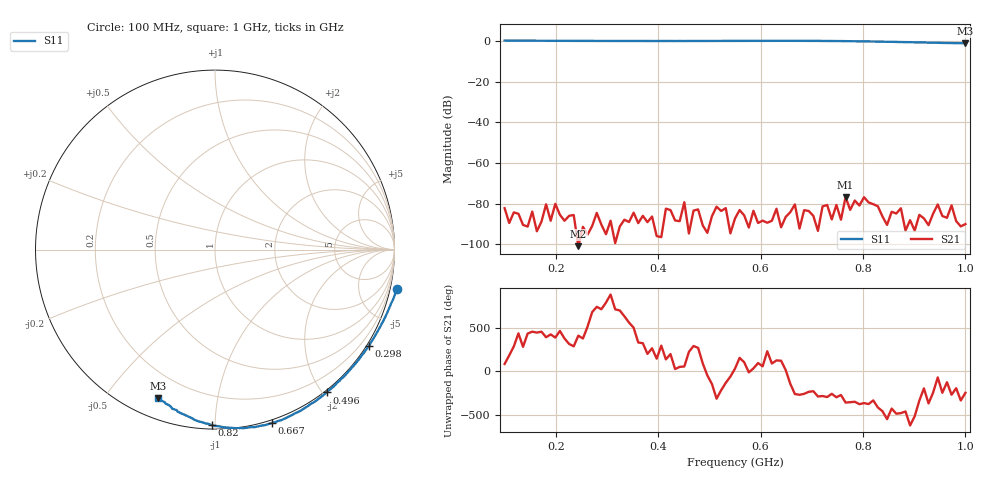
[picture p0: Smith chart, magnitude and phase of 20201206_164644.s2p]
# HZ S RI R 50
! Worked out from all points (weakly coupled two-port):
!   101 points, 100 MHz to 1 GHz, reference 50 ohm
!   highest |S21| = -76.76 dB at 766 MHz (marker M1); lowest = -100.9 dB at 244 MHz (marker M2)
!   lowest |S11| = -1.1 dB at 1 GHz (marker M3), VSWR 16.55, Z = 4.44 - j34.2 ohm
!   |S11| at or under -10 dB: nowhere
!   S12 and S22 are empty: the file has one direction only
!   S11 on the Smith chart (normalised r, x): 100 MHz: -1.63, -9.06; 298 MHz: -0.07, -3.48; 496 MHz: -0.03, -2.05; 667 MHz: -0.02, -1.38; 820 MHz: 0.02, -0.98; 1 GHz: 0.09, -0.68
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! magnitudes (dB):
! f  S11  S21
! 100 MHz  0.3  -82.2
! 244 MHz  0.1  -100.9
! 253 MHz  0.1  -91.4
! 298 MHz  0.1  -95.0
! 406 MHz  0.1  -96.5
! 442 MHz  0.1  -88.6
! 451 MHz  0.1  -79.3
! 460 MHz  0.1  -94.7
! 496 MHz  0.1  -94.3
! 550 MHz  0.1  -87.3
! 667 MHz  0.1  -80.4
! 703 MHz  0.1  -86.0
! 757 MHz  0.0  -87.9
! 766 MHz  0.0  -76.8
! 775 MHz  0.0  -83.0
! 784 MHz  -0.1  -78.4
! 793 MHz  -0.1  -80.9
! 802 MHz  -0.1  -76.8
! 811 MHz  -0.2  -79.4
! 820 MHz  -0.2  -80.3
! 856 MHz  -0.3  -84.0
! 1 GHz  -1.1  -90.1
